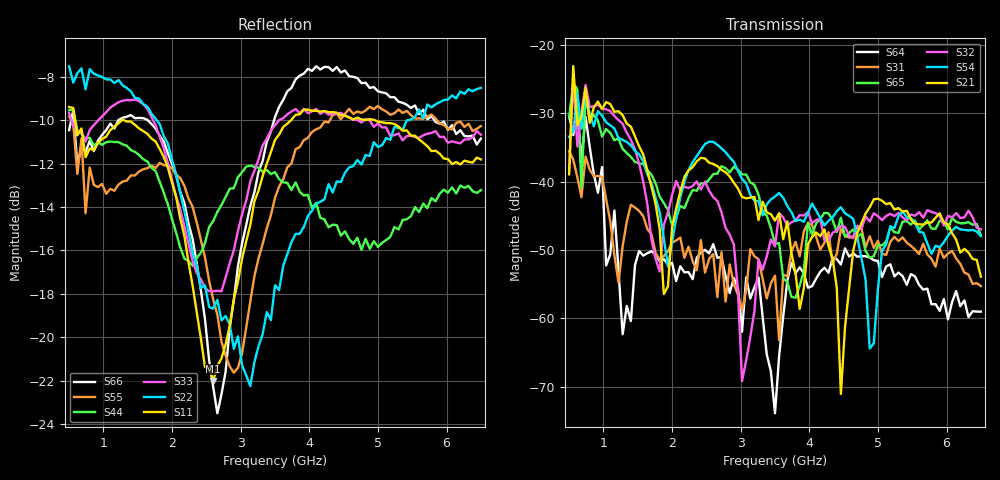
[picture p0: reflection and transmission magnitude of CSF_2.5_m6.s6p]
!Keysight Technologies,M9804A,MY58100912,A.14.10.03
!Date: Thursday, April 27, 2023 10:28:33
!Correction: S11(C  6-Port  )
!S12(C  6-Port  )
!S13(C  6-Port  )
!S14(C  6-Port  )
!S15(C  6-Port  )
!S16(C  6-Port  )
!S21(C  6-Port  )
!S22(C  6-Port  )
!S23(C  6-Port  )
!S24(C  6-Port  )
!S25(C  6-Port  )
!S26(C  6-Port  )
!S31(C  6-Port  )
!S32(C  6-Port  )
!S33(C  6-Port  )
!S34(C  6-Port  )
!S35(C  6-Port  )
!S36(C  6-Port  )
!S41(C  6-Port  )
!S42(C  6-Port  )
!S43(C  6-Port  )
!S44(C  6-Port  )
!S45(C  6-Port  )
!S46(C  6-Port  )
!S51(C  6-Port  )
!S52(C  6-Port  )
!S53(C  6-Port  )
!S54(C  6-Port  )
!S55(C  6-Port  )
!S56(C  6-Port  )
!S61(C  6-Port  )
!S62(C  6-Port  )
!S63(C  6-Port  )
!S64(C  6-Port  )
!S65(C  6-Port  )
!S66(C  6-Port  )
!S6P File: Measurement: :
# Hz S  RI  R 50
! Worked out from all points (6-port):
!   101 points, 500 MHz to 6.5 GHz, reference 50 ohm
!   strongest paths, dB at 500 MHz, 2 GHz, 3.5 GHz, 5 GHz, 6.5 GHz:
!     S21: -38.9, -46.7, -45.7, -42.5, -53.9
!     S54: -33.4, -48.9, -42.2, -55.6, -48.0
!     S32: -38.3, -42.0, -49.5, -45.0, -46.9
!     S65: -30.6, -46.4, -49.1, -49.3, -47.9
!     S31: -35.5, -48.9, -53.7, -48.6, -55.3
!     S64: -30.4, -51.9, -73.9, -51.6, -59.0
!   lowest |S11| = -22.0 dB at 2.6 GHz (marker M1), VSWR 1.17, Z = 42.9 + j2.02 ohm
!   |S11| at or under -10 dB: 586.4 MHz to 1.272 GHz (686 MHz wide, 73.8 % of centre); 1.295 GHz to 3.736 GHz (2.441 GHz wide, 97.1 % of centre); 4.95 GHz to end of sweep
